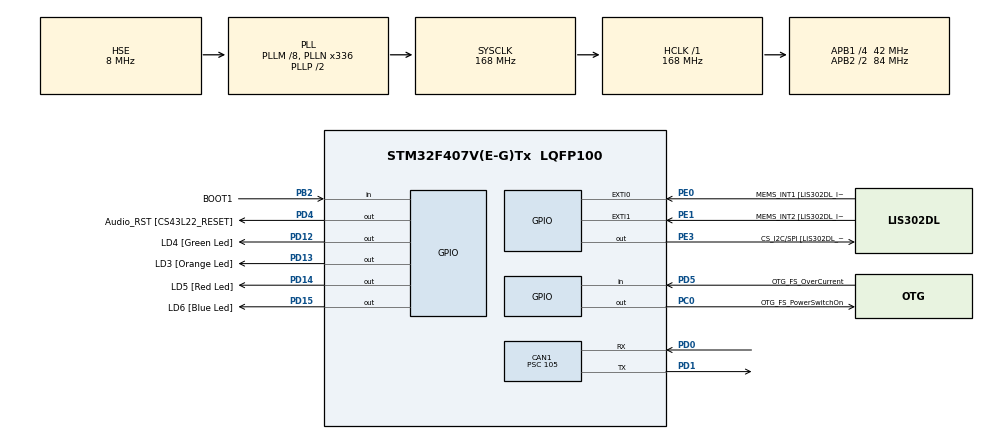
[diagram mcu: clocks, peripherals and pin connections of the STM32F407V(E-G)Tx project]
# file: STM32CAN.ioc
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CAN1.BS1=CAN_BS1_3TQ
CAN1.BS2=CAN_BS2_4TQ
CAN1.CalculateTimeBit=20000
CAN1.CalculateTimeQuantum=2500.0
CAN1.Mode=CAN_MODE_SILENT_LOOPBACK
CAN1.Prescaler=105
Mcu.Family=STM32F4
Mcu.Name=STM32F407V(E-G)Tx
Mcu.Package=LQFP100
NVIC.CAN1_RX0_IRQn=true\:0\:0\:false\:false\:true
NVIC.CAN1_TX_IRQn=true\:0\:0\:false\:false\:true
NVIC.PriorityGroup=NVIC_PRIORITYGROUP_0
PA10.GPIO_Label=OTG_FS_ID
PA10.GPIO_Mode=GPIO_MODE_AF_PP
PA10.GPIO_PuPd=GPIO_NOPULL
PA10.GPIO_Speed=GPIO_SPEED_FREQ_LOW
PA10.Signal=USB_OTG_FS_ID
PA11.GPIO_Label=OTG_FS_DM
PA11.GPIO_Mode=GPIO_MODE_AF_PP
PA11.GPIO_PuPd=GPIO_NOPULL
PA11.GPIO_Speed=GPIO_SPEED_FREQ_LOW
PA11.Signal=USB_OTG_FS_DM
PA12.GPIO_Label=OTG_FS_DP
PA12.GPIO_Mode=GPIO_MODE_AF_PP
PA12.GPIO_PuPd=GPIO_NOPULL
PA12.GPIO_Speed=GPIO_SPEED_FREQ_LOW
PA12.Signal=USB_OTG_FS_DP
PA13.GPIO_Label=SWDIO
PA13.Signal=SYS_JTMS-SWDIO
PA14.GPIO_Label=SWCLK
PA14.Signal=SYS_JTCK-SWCLK
PA4.GPIO_Label=I2S3_WS [CS43L22_LRCK]
PA4.GPIO_Mode=GPIO_MODE_AF_PP
PA4.GPIO_PuPd=GPIO_NOPULL
PA4.GPIO_Speed=GPIO_SPEED_FREQ_LOW
PA4.Signal=I2S3_WS
PA5.GPIO_Label=SPI1_SCK [LIS302DL_SCL/SPC]
PA5.GPIO_Mode=GPIO_MODE_AF_PP
PA5.GPIO_PuPd=GPIO_NOPULL
PA5.GPIO_Speed=GPIO_SPEED_FREQ_LOW
PA5.Signal=SPI1_SCK
PA6.GPIO_Label=SPI1_MISO [LIS302DL_SDO]
PA6.GPIO_Mode=GPIO_MODE_AF_PP
PA6.GPIO_PuPd=GPIO_NOPULL
PA6.GPIO_Speed=GPIO_SPEED_FREQ_LOW
PA6.Signal=SPI1_MISO
PA7.GPIO_Label=SPI1_MOSI [LIS302DL_SDA/SDI/SDO]
PA7.GPIO_Mode=GPIO_MODE_AF_PP
PA7.GPIO_PuPd=GPIO_NOPULL
PA7.GPIO_Speed=GPIO_SPEED_FREQ_LOW
PA7.Signal=SPI1_MOSI
PA9.GPIO_Label=VBUS_FS
PA9.GPIO_Mode=GPIO_MODE_INPUT
PA9.GPIO_PuPd=GPIO_NOPULL
PA9.Signal=USB_OTG_FS_VBUS
PB10.GPIO_Label=CLK_IN [MP45DT02_CLK]
PB10.GPIO_Mode=GPIO_MODE_AF_PP
PB10.GPIO_PuPd=GPIO_NOPULL
PB10.GPIO_Speed=GPIO_SPEED_FREQ_LOW
PB10.Signal=I2S2_CK
PB2.GPIO_Label=BOOT1
PB2.GPIO_Mode=GPIO_MODE_INPUT
PB2.GPIO_PuPd=GPIO_NOPULL
PB2.Signal=GPIO_Input
PB3.GPIO_Label=SWO
PB3.Signal=SYS_JTDO-SWO
PB6.GPIO_Label=Audio_SCL [CS43L22_SCL]
PB6.GPIO_Mode=GPIO_MODE_AF_OD
PB6.GPIO_PuPd=GPIO_NOPULL
PB6.GPIO_Speed=GPIO_SPEED_FREQ_LOW
PB6.Signal=I2C1_SCL
PB9.GPIO_Label=Audio_SDA [CS43L22_SDA]
PB9.GPIO_Mode=GPIO_MODE_AF_OD
PB9.GPIO_PuPd=GPIO_NOPULL
PB9.GPIO_Speed=GPIO_SPEED_FREQ_LOW
PB9.Signal=I2C1_SDA
PC0.GPIO_Label=OTG_FS_PowerSwitchOn
PC0.GPIO_PuPd=GPIO_NOPULL
PC0.GPIO_Speed=GPIO_SPEED_FREQ_LOW
PC0.Signal=GPIO_Output
PC10.GPIO_Label=I2S3_SCK [CS43L22_SCLK]
PC10.GPIO_Mode=GPIO_MODE_AF_PP
PC10.GPIO_PuPd=GPIO_NOPULL
PC10.GPIO_Speed=GPIO_SPEED_FREQ_LOW
PC10.Signal=I2S3_CK
PC12.GPIO_Label=I2S3_SD [CS43L22_SDIN]
PC12.GPIO_Mode=GPIO_MODE_AF_PP
PC12.GPIO_PuPd=GPIO_NOPULL
PC12.GPIO_Speed=GPIO_SPEED_FREQ_LOW
PC12.Signal=I2S3_SD
PC14-OSC32_IN.GPIO_Label=PC14-OSC32_IN
PC14-OSC32_IN.Signal=RCC_OSC32_IN
PC15-OSC32_OUT.GPIO_Label=PC15-OSC32_OUT
PC15-OSC32_OUT.Signal=RCC_OSC32_OUT
PC3.GPIO_Label=PDM_OUT [MP45DT02_DOUT]
PC3.GPIO_Mode=GPIO_MODE_AF_PP
PC3.GPIO_PuPd=GPIO_NOPULL
PC3.GPIO_Speed=GPIO_SPEED_FREQ_LOW
PC3.Signal=I2S2_SD
PC7.GPIO_Label=I2S3_MCK [CS43L22_MCLK]
PC7.GPIO_Mode=GPIO_MODE_AF_PP
PC7.GPIO_PuPd=GPIO_NOPULL
PC7.GPIO_Speed=GPIO_SPEED_FREQ_LOW
PC7.Signal=I2S3_MCK
PD0.Mode=Master
PD0.Signal=CAN1_RX
PD1.Mode=Master
PD1.Signal=CAN1_TX
PD12.GPIO_Label=LD4 [Green Led]
PD12.GPIO_PuPd=GPIO_NOPULL
PD12.GPIO_Speed=GPIO_SPEED_FREQ_LOW
PD12.Signal=GPIO_Output
PD13.GPIO_Label=LD3 [Orange Led]
PD13.GPIO_PuPd=GPIO_NOPULL
PD13.GPIO_Speed=GPIO_SPEED_FREQ_LOW
PD13.Signal=GPIO_Output
PD14.GPIO_Label=LD5 [Red Led]
PD14.GPIO_PuPd=GPIO_NOPULL
PD14.GPIO_Speed=GPIO_SPEED_FREQ_LOW
PD14.Signal=GPIO_Output
PD15.GPIO_Label=LD6 [Blue Led]
PD15.GPIO_PuPd=GPIO_NOPULL
PD15.GPIO_Speed=GPIO_SPEED_FREQ_LOW
PD15.Signal=GPIO_Output
PD4.GPIO_Label=Audio_RST [CS43L22_RESET]
PD4.GPIO_PuPd=GPIO_NOPULL
PD4.GPIO_Speed=GPIO_SPEED_FREQ_LOW
PD4.Signal=GPIO_Output
PD5.GPIO_Label=OTG_FS_OverCurrent
PD5.GPIO_Mode=GPIO_MODE_INPUT
PD5.GPIO_PuPd=GPIO_NOPULL
PD5.Signal=GPIO_Input
PE0.GPIO_Label=MEMS_INT1 [LIS302DL_INT1]
PE0.Signal=GPXTI0
PE1.GPIO_Label=MEMS_INT2 [LIS302DL_INT2]
PE1.GPIO_ModeDefaultEXTI=GPIO_MODE_EVT_RISING
PE1.GPIO_PuPd=GPIO_NOPULL
PE1.Signal=GPXTI1
PE3.GPIO_Label=CS_I2C/SPI [LIS302DL_CS_I2C/SPI]
PE3.GPIO_PuPd=GPIO_NOPULL
PE3.GPIO_Speed=GPIO_SPEED_FREQ_LOW
PE3.Signal=GPIO_Output
PH0-OSC_IN.GPIO_Label=PH0-OSC_IN
PH0-OSC_IN.Mode=HSE-External-Oscillator
PH0-OSC_IN.Signal=RCC_OSC_IN
PH1-OSC_OUT.GPIO_Label=PH1-OSC_OUT
PH1-OSC_OUT.Mode=HSE-External-Oscillator
PH1-OSC_OUT.Signal=RCC_OSC_OUT
ProjectManager.HeapSize=0x200
ProjectManager.StackSize=0x400
ProjectManager.TargetToolchain=MDK-ARM V5
RCC.48MHZClocksFreq_Value=48000000
RCC.AHBFreq_Value=168000000
RCC.APB1CLKDivider=RCC_HCLK_DIV4
RCC.APB1Freq_Value=42000000
RCC.APB1TimFreq_Value=84000000
RCC.APB2CLKDivider=RCC_HCLK_DIV2
RCC.APB2Freq_Value=84000000
RCC.APB2TimFreq_Value=168000000
RCC.CortexFreq_Value=168000000
RCC.HCLKFreq_Value=168000000
RCC.HSE_VALUE=8000000
RCC.HSI_VALUE=16000000
RCC.LSE_VALUE=32768
RCC.PLLM=8
RCC.PLLN=336
RCC.PLLQ=7
RCC.PLLSourceVirtual=RCC_PLLSOURCE_HSE
RCC.SYSCLKFreq_VALUE=168000000
RCC.SYSCLKSource=RCC_SYSCLKSOURCE_PLLCLK
RCC.VCOOutputFreq_Value=336000000
board=STM32F407G-DISC1

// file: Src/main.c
/**
  ******************************************************************************
  * File Name          : main.c
  * Description        : Main program body
  ******************************************************************************
  *
  * COPYRIGHT(c) 2016 STMicroelectronics
  *
  * Redistribution and use in source and binary forms, with or without modification,
  * are permitted provided that the following conditions are met:
  *   1. Redistributions of source code must retain the above copyright notice,
  *      this list of conditions and the following disclaimer.
  *   2. Redistributions in binary form must reproduce the above copyright notice,
  *      this list of conditions and the following disclaimer in the documentation
  *      and/or other materials provided with the distribution.
  *   3. Neither the name of STMicroelectronics nor the names of its contributors
  *      may be used to endorse or promote products derived from this software
  *      without specific prior written permission.
  *
  * THIS SOFTWARE IS PROVIDED BY THE COPYRIGHT HOLDERS AND CONTRIBUTORS "AS IS"
  * AND ANY EXPRESS OR IMPLIED WARRANTIES, INCLUDING, BUT NOT LIMITED TO, THE
  * IMPLIED WARRANTIES OF MERCHANTABILITY AND FITNESS FOR A PARTICULAR PURPOSE ARE
  * DISCLAIMED. IN NO EVENT SHALL THE COPYRIGHT HOLDER OR CONTRIBUTORS BE LIABLE
  * FOR ANY DIRECT, INDIRECT, INCIDENTAL, SPECIAL, EXEMPLARY, OR CONSEQUENTIAL
  * DAMAGES (INCLUDING, BUT NOT LIMITED TO, PROCUREMENT OF SUBSTITUTE GOODS OR
  * SERVICES; LOSS OF USE, DATA, OR PROFITS; OR BUSINESS INTERRUPTION) HOWEVER
  * CAUSED AND ON ANY THEORY OF LIABILITY, WHETHER IN CONTRACT, STRICT LIABILITY,
  * OR TORT (INCLUDING NEGLIGENCE OR OTHERWISE) ARISING IN ANY WAY OUT OF THE USE
  * OF THIS SOFTWARE, EVEN IF ADVISED OF THE POSSIBILITY OF SUCH DAMAGE.
  *
  ******************************************************************************
  */
#include "stm32f4xx_hal.h"

CAN_HandleTypeDef hcan1;

/* USER CODE BEGIN PV */
/* Private variables ---------------------------------------------------------*/
CanTxMsgTypeDef canTxBuffer;
CanRxMsgTypeDef canRxBuffer;

/* USER CODE END PV */

void SystemClock_Config(void);
void Error_Handler(void);
static void MX_GPIO_Init(void);
static void MX_CAN1_Init(void);

/* USER CODE BEGIN PFP */
/* Private function prototypes -----------------------------------------------*/
void HAL_CAN_RxCpltCallback(CAN_HandleTypeDef* hcan){
  printf("received:\n");
  printf("Data[0] %d\n",hcan->pRxMsg->Data[0]);
  printf("Data[1] %d\n",hcan->pRxMsg->Data[1]);
  printf("Data[2] %d\n",hcan->pRxMsg->Data[2]);
  printf("Data[3] %d\n",hcan->pRxMsg->Data[3]);
  printf("Data[4] %d\n",hcan->pRxMsg->Data[4]);
  printf("Data[5] %d\n",hcan->pRxMsg->Data[5]);
  printf("Data[6] %d\n",hcan->pRxMsg->Data[6]);
  printf("Data[7] %d\n",hcan->pRxMsg->Data[7]);

  for(int i =0; i < 8; ++i) hcan->pRxMsg->Data[i] = 0;
}

void HAL_CAN_TxCpltCallback(CAN_HandleTypeDef* hcan){
  printf("transmition complete\n");
}
/* USER CODE END PFP */

int main(void)
{

  /* MCU Configuration----------------------------------------------------------*/

  /* Reset of all peripherals, Initializes the Flash interface and the Systick. */
  HAL_Init();

  /* Configure the system clock */
  SystemClock_Config();

  /* Initialize all configured peripherals */
  MX_GPIO_Init();
  MX_CAN1_Init();

  /* USER CODE BEGIN 2 */
  HAL_CAN_Init(&hcan1);

  CAN_FilterConfTypeDef canFilterConfig;
  canFilterConfig.FilterNumber = 0;
  canFilterConfig.FilterMode = CAN_FILTERMODE_IDMASK;
  canFilterConfig.FilterScale = CAN_FILTERSCALE_32BIT;
  canFilterConfig.FilterIdHigh = 0x0000;
  canFilterConfig.FilterIdLow = 0x0000;
  canFilterConfig.FilterMaskIdHigh = 0x0000 << 5;
  canFilterConfig.FilterMaskIdLow = 0x0000;
  canFilterConfig.FilterFIFOAssignment = CAN_FIFO0;
  canFilterConfig.FilterActivation = ENABLE;
  canFilterConfig.BankNumber = 1;
  HAL_CAN_ConfigFilter(&hcan1, &canFilterConfig);

  canRxBuffer.StdId = 0x00;
  canRxBuffer.RTR=CAN_RTR_DATA;
  canRxBuffer.IDE=CAN_ID_STD;
  canRxBuffer.DLC=0;
  for(int i =0; i < 8; ++i) canRxBuffer.Data[i] = 0;

  canTxBuffer.StdId=0x71;
  canTxBuffer.RTR=CAN_RTR_DATA;
  canTxBuffer.IDE=CAN_ID_STD;
  canTxBuffer.DLC=8;

  canTxBuffer.ExtId=0;

  canTxBuffer.Data[0]=0x1;
  canTxBuffer.Data[1]=0x2;
  canTxBuffer.Data[2]=0x3;
  canTxBuffer.Data[3]=0x4;
  canTxBuffer.Data[4]=0x5;
  canTxBuffer.Data[5]=0x6;
  canTxBuffer.Data[6]=0x7;
  canTxBuffer.Data[7]=0x8;

  hcan1.pTxMsg = &canTxBuffer;
  hcan1.pRxMsg = &canRxBuffer;

  printf("start\n");
  /* USER CODE END 2 */

  /* Infinite loop */
  while (1)
  {

  /* USER CODE BEGIN 3 */

	HAL_CAN_Transmit_IT(&hcan1);
	HAL_Delay(100);
	HAL_CAN_Receive_IT(&hcan1, CAN_FIFO0);
	HAL_Delay(100);

  }
  /* USER CODE END 3 */

}

/** System Clock Configuration
*/
void SystemClock_Config(void)
{

  RCC_OscInitTypeDef RCC_OscInitStruct;
  RCC_ClkInitTypeDef RCC_ClkInitStruct;

  __HAL_RCC_PWR_CLK_ENABLE();

  __HAL_PWR_VOLTAGESCALING_CONFIG(PWR_REGULATOR_VOLTAGE_SCALE1);

  RCC_OscInitStruct.OscillatorType = RCC_OSCILLATORTYPE_HSE;
  RCC_OscInitStruct.HSEState = RCC_HSE_ON;
  RCC_OscInitStruct.PLL.PLLState = RCC_PLL_ON;
  RCC_OscInitStruct.PLL.PLLSource = RCC_PLLSOURCE_HSE;
  RCC_OscInitStruct.PLL.PLLM = 8;
  RCC_OscInitStruct.PLL.PLLN = 336;
  RCC_OscInitStruct.PLL.PLLP = RCC_PLLP_DIV2;
  RCC_OscInitStruct.PLL.PLLQ = 7;
  if (HAL_RCC_OscConfig(&RCC_OscInitStruct) != HAL_OK)
  {
    Error_Handler();
  }

  RCC_ClkInitStruct.ClockType = RCC_CLOCKTYPE_HCLK|RCC_CLOCKTYPE_SYSCLK
                              |RCC_CLOCKTYPE_PCLK1|RCC_CLOCKTYPE_PCLK2;
  RCC_ClkInitStruct.SYSCLKSource = RCC_SYSCLKSOURCE_PLLCLK;
  RCC_ClkInitStruct.AHBCLKDivider = RCC_SYSCLK_DIV1;
  RCC_ClkInitStruct.APB1CLKDivider = RCC_HCLK_DIV4;
  RCC_ClkInitStruct.APB2CLKDivider = RCC_HCLK_DIV2;
  if (HAL_RCC_ClockConfig(&RCC_ClkInitStruct, FLASH_LATENCY_5) != HAL_OK)
  {
    Error_Handler();
  }

  HAL_SYSTICK_Config(HAL_RCC_GetHCLKFreq()/1000);

  HAL_SYSTICK_CLKSourceConfig(SYSTICK_CLKSOURCE_HCLK);

  /* SysTick_IRQn interrupt configuration */
  HAL_NVIC_SetPriority(SysTick_IRQn, 0, 0);
}

/* CAN1 init function */
static void MX_CAN1_Init(void)
{

  hcan1.Instance = CAN1;
  hcan1.Init.Prescaler = 105;
  hcan1.Init.Mode = CAN_MODE_SILENT_LOOPBACK;
  hcan1.Init.SJW = CAN_SJW_1TQ;
  hcan1.Init.BS1 = CAN_BS1_3TQ;
  hcan1.Init.BS2 = CAN_BS2_4TQ;
  hcan1.Init.TTCM = DISABLE;
  hcan1.Init.ABOM = DISABLE;
  hcan1.Init.AWUM = DISABLE;
  hcan1.Init.NART = DISABLE;
  hcan1.Init.RFLM = DISABLE;
  hcan1.Init.TXFP = DISABLE;
  if (HAL_CAN_Init(&hcan1) != HAL_OK)
  {
    Error_Handler();
  }

}

/** Configure pins as
        * Analog
        * Input
        * Output
        * EVENT_OUT
        * EXTI
     PC3   ------> I2S2_SD
     PA4   ------> I2S3_WS
     PA5   ------> SPI1_SCK
     PA6   ------> SPI1_MISO
     PA7   ------> SPI1_MOSI
     PB10   ------> I2S2_CK
     PC7   ------> I2S3_MCK
     PA9   ------> USB_OTG_FS_VBUS
     PA10   ------> USB_OTG_FS_ID
     PA11   ------> USB_OTG_FS_DM
     PA12   ------> USB_OTG_FS_DP
     PC10   ------> I2S3_CK
     PC12   ------> I2S3_SD
     PB6   ------> I2C1_SCL
     PB9   ------> I2C1_SDA
*/
static void MX_GPIO_Init(void)
{

  GPIO_InitTypeDef GPIO_InitStruct;

  /* GPIO Ports Clock Enable */
  __HAL_RCC_GPIOE_CLK_ENABLE();
  __HAL_RCC_GPIOC_CLK_ENABLE();
  __HAL_RCC_GPIOH_CLK_ENABLE();
  __HAL_RCC_GPIOA_CLK_ENABLE();
  __HAL_RCC_GPIOB_CLK_ENABLE();
  __HAL_RCC_GPIOD_CLK_ENABLE();

  /*Configure GPIO pin Output Level */
  HAL_GPIO_WritePin(CS_I2C_SPI_GPIO_Port, CS_I2C_SPI_Pin, GPIO_PIN_RESET);

  /*Configure GPIO pin Output Level */
  HAL_GPIO_WritePin(OTG_FS_PowerSwitchOn_GPIO_Port, OTG_FS_PowerSwitchOn_Pin, GPIO_PIN_RESET);

  /*Configure GPIO pin Output Level */
  HAL_GPIO_WritePin(GPIOD, LD4_Pin|LD3_Pin|LD5_Pin|LD6_Pin
                          |Audio_RST_Pin, GPIO_PIN_RESET);

  /*Configure GPIO pin : CS_I2C_SPI_Pin */
  GPIO_InitStruct.Pin = CS_I2C_SPI_Pin;
  GPIO_InitStruct.Mode = GPIO_MODE_OUTPUT_PP;
  GPIO_InitStruct.Pull = GPIO_NOPULL;
  GPIO_InitStruct.Speed = GPIO_SPEED_FREQ_LOW;
  HAL_GPIO_Init(CS_I2C_SPI_GPIO_Port, &GPIO_InitStruct);

  /*Configure GPIO pin : OTG_FS_PowerSwitchOn_Pin */
  GPIO_InitStruct.Pin = OTG_FS_PowerSwitchOn_Pin;
  GPIO_InitStruct.Mode = GPIO_MODE_OUTPUT_PP;
  GPIO_InitStruct.Pull = GPIO_NOPULL;
  GPIO_InitStruct.Speed = GPIO_SPEED_FREQ_LOW;
  HAL_GPIO_Init(OTG_FS_PowerSwitchOn_GPIO_Port, &GPIO_InitStruct);

  /*Configure GPIO pin : PDM_OUT_Pin */
  GPIO_InitStruct.Pin = PDM_OUT_Pin;
  GPIO_InitStruct.Mode = GPIO_MODE_AF_PP;
  GPIO_InitStruct.Pull = GPIO_NOPULL;
  GPIO_InitStruct.Speed = GPIO_SPEED_FREQ_LOW;
  GPIO_InitStruct.Alternate = GPIO_AF5_SPI2;
  HAL_GPIO_Init(PDM_OUT_GPIO_Port, &GPIO_InitStruct);

  /*Configure GPIO pin : PA4 */
  GPIO_InitStruct.Pin = GPIO_PIN_4;
  GPIO_InitStruct.Mode = GPIO_MODE_AF_PP;
  GPIO_InitStruct.Pull = GPIO_NOPULL;
  GPIO_InitStruct.Speed = GPIO_SPEED_FREQ_LOW;
  GPIO_InitStruct.Alternate = GPIO_AF6_SPI3;
  HAL_GPIO_Init(GPIOA, &GPIO_InitStruct);

  /*Configure GPIO pins : PA5 PA6 PA7 */
  GPIO_InitStruct.Pin = GPIO_PIN_5|GPIO_PIN_6|GPIO_PIN_7;
  GPIO_InitStruct.Mode = GPIO_MODE_AF_PP;
  GPIO_InitStruct.Pull = GPIO_NOPULL;
  GPIO_InitStruct.Speed = GPIO_SPEED_FREQ_LOW;
  GPIO_InitStruct.Alternate = GPIO_AF5_SPI1;
  HAL_GPIO_Init(GPIOA, &GPIO_InitStruct);

  /*Configure GPIO pin : BOOT1_Pin */
  GPIO_InitStruct.Pin = BOOT1_Pin;
  GPIO_InitStruct.Mode = GPIO_MODE_INPUT;
  GPIO_InitStruct.Pull = GPIO_NOPULL;
  HAL_GPIO_Init(BOOT1_GPIO_Port, &GPIO_InitStruct);

  /*Configure GPIO pin : CLK_IN_Pin */
  GPIO_InitStruct.Pin = CLK_IN_Pin;
  GPIO_InitStruct.Mode = GPIO_MODE_AF_PP;
  GPIO_InitStruct.Pull = GPIO_NOPULL;
  GPIO_InitStruct.Speed = GPIO_SPEED_FREQ_LOW;
  GPIO_InitStruct.Alternate = GPIO_AF5_SPI2;
  HAL_GPIO_Init(CLK_IN_GPIO_Port, &GPIO_InitStruct);

  /*Configure GPIO pins : LD4_Pin LD3_Pin LD5_Pin LD6_Pin
                           Audio_RST_Pin */
  GPIO_InitStruct.Pin = LD4_Pin|LD3_Pin|LD5_Pin|LD6_Pin
                          |Audio_RST_Pin;
  GPIO_InitStruct.Mode = GPIO_MODE_OUTPUT_PP;
  GPIO_InitStruct.Pull = GPIO_NOPULL;
  GPIO_InitStruct.Speed = GPIO_SPEED_FREQ_LOW;
  HAL_GPIO_Init(GPIOD, &GPIO_InitStruct);

  /*Configure GPIO pins : PC7 I2S3_SCK_Pin PC12 */
  GPIO_InitStruct.Pin = GPIO_PIN_7|I2S3_SCK_Pin|GPIO_PIN_12;
  GPIO_InitStruct.Mode = GPIO_MODE_AF_PP;
  GPIO_InitStruct.Pull = GPIO_NOPULL;
  GPIO_InitStruct.Speed = GPIO_SPEED_FREQ_LOW;
  GPIO_InitStruct.Alternate = GPIO_AF6_SPI3;
  HAL_GPIO_Init(GPIOC, &GPIO_InitStruct);

  /*Configure GPIO pin : VBUS_FS_Pin */
  GPIO_InitStruct.Pin = VBUS_FS_Pin;
  GPIO_InitStruct.Mode = GPIO_MODE_INPUT;
  GPIO_InitStruct.Pull = GPIO_NOPULL;
  HAL_GPIO_Init(VBUS_FS_GPIO_Port, &GPIO_InitStruct);

  /*Configure GPIO pins : OTG_FS_ID_Pin OTG_FS_DM_Pin OTG_FS_DP_Pin */
  GPIO_InitStruct.Pin = OTG_FS_ID_Pin|OTG_FS_DM_Pin|OTG_FS_DP_Pin;
  GPIO_InitStruct.Mode = GPIO_MODE_AF_PP;
  GPIO_InitStruct.Pull = GPIO_NOPULL;
  GPIO_InitStruct.Speed = GPIO_SPEED_FREQ_LOW;
  GPIO_InitStruct.Alternate = GPIO_AF10_OTG_FS;
  HAL_GPIO_Init(GPIOA, &GPIO_InitStruct);

  /*Configure GPIO pin : OTG_FS_OverCurrent_Pin */
  GPIO_InitStruct.Pin = OTG_FS_OverCurrent_Pin;
  GPIO_InitStruct.Mode = GPIO_MODE_INPUT;
  GPIO_InitStruct.Pull = GPIO_NOPULL;
  HAL_GPIO_Init(OTG_FS_OverCurrent_GPIO_Port, &GPIO_InitStruct);

  /*Configure GPIO pins : Audio_SCL_Pin Audio_SDA_Pin */
  GPIO_InitStruct.Pin = Audio_SCL_Pin|Audio_SDA_Pin;
  GPIO_InitStruct.Mode = GPIO_MODE_AF_OD;
  GPIO_InitStruct.Pull = GPIO_PULLUP;
  GPIO_InitStruct.Speed = GPIO_SPEED_FREQ_LOW;
  GPIO_InitStruct.Alternate = GPIO_AF4_I2C1;
  HAL_GPIO_Init(GPIOB, &GPIO_InitStruct);

  /*Configure GPIO pin : MEMS_INT1_Pin */
  GPIO_InitStruct.Pin = MEMS_INT1_Pin;
  GPIO_InitStruct.Mode = GPIO_MODE_IT_RISING;
  GPIO_InitStruct.Pull = GPIO_NOPULL;
  HAL_GPIO_Init(MEMS_INT1_GPIO_Port, &GPIO_InitStruct);

  /*Configure GPIO pin : MEMS_INT2_Pin */
  GPIO_InitStruct.Pin = MEMS_INT2_Pin;
  GPIO_InitStruct.Mode = GPIO_MODE_EVT_RISING;
  GPIO_InitStruct.Pull = GPIO_NOPULL;
  HAL_GPIO_Init(MEMS_INT2_GPIO_Port, &GPIO_InitStruct);

}

void Error_Handler(void)
{
  while(1)
  {
  }
}

/************************ (C) COPYRIGHT STMicroelectronics *****END OF FILE****/
